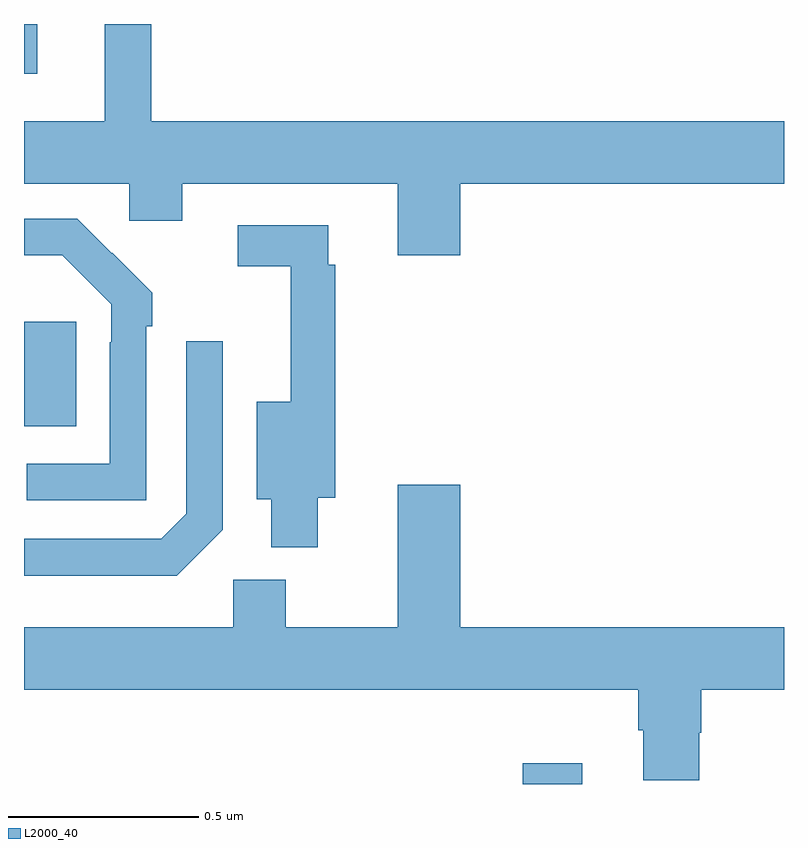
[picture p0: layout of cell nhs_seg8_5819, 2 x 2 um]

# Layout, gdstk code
import gdstk
lib = gdstk.Library(unit=1e-6, precision=1e-09)
def R(c, l, rs):  # rectangles x0, y0, x1, y1
    for r in rs: c.add(gdstk.rectangle(r[:2], r[2:], *l))
def P(c, l, *ps):  # polygons
    for p in ps: c.add(gdstk.Polygon(p, *l))
L2000_40 = (2000, 40)

nhs_seg8_5819 = lib.new_cell('nhs_seg8_5819')
R(nhs_seg8_5819, L2000_40, [(189.313,1134.9,189.469,1134.955), (188,1135.841,188.137,1136.116), (188,1136.769,188.035,1136.9)])
P(nhs_seg8_5819, L2000_40, [(189.148,1136.48),(190,1136.48),(190,1136.644),(188.335,1136.644),(188.335,1136.9),(188.213,1136.9),(188.213,1136.644),(188,1136.644),(188,1136.48),(188.277,1136.48),(188.277,1136.382),(188.416,1136.382),(188.416,1136.48),(188.984,1136.48),(188.984,1136.292),(189.148,1136.292)],
  [(188.322,1136.105),(188.337,1136.105),(188.337,1136.193),(188.232,1136.298),(188.231,1136.297),(188.14,1136.388),(188,1136.388),(188,1136.292),(188.101,1136.292),(188.229,1136.163),(188.229,1136.063),(188.226,1136.063),(188.226,1135.743),(188.007,1135.743),(188.007,1135.647),(188.322,1135.647)],
  [(188.773,1135.653),(188.819,1135.653),(188.819,1136.267),(188.801,1136.267),(188.801,1136.37),(188.562,1136.37),(188.562,1136.262),(188.702,1136.262),(188.702,1135.906),(188.612,1135.906),(188.612,1135.649),(188.651,1135.649),(188.651,1135.523),(188.773,1135.523)],
  [(188.523,1135.569),(188.523,1136.065),(188.427,1136.065),(188.427,1135.611),(188.361,1135.545),(188,1135.545),(188,1135.448),(188.402,1135.448)],
  [(189.777,1135.035),(189.782,1135.035),(189.782,1135.148),(190,1135.148),(190,1135.312),(189.148,1135.312),(189.148,1135.687),(188.984,1135.687),(188.984,1135.312),(188.689,1135.312),(188.689,1135.438),(188.55,1135.438),(188.55,1135.312),(188,1135.312),(188,1135.148),(189.617,1135.148),(189.617,1135.042),(189.629,1135.042),(189.629,1134.91),(189.777,1134.91)])

lib.write_gds('nhs_seg8_5819.gds')
